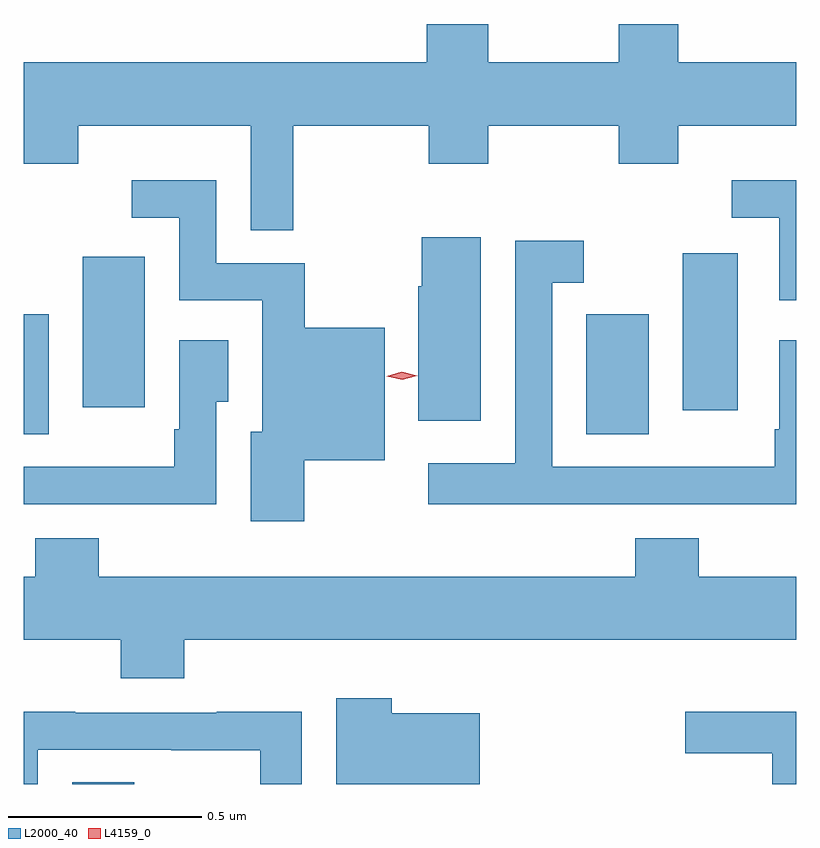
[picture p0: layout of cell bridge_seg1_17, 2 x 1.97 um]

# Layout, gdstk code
import gdstk
lib = gdstk.Library(unit=1e-6, precision=1e-09)
def R(c, l, rs):  # rectangles x0, y0, x1, y1
    for r in rs: c.add(gdstk.rectangle(r[:2], r[2:], *l))
def P(c, l, *ps):  # polygons
    for p in ps: c.add(gdstk.Polygon(p, *l))
L2000_40 = (2000, 40)
L4159_0 = (4159, 0)

bridge_seg1_17 = lib.new_cell('bridge_seg1_17')
R(bridge_seg1_17, L2000_40, [(881.063,531.379,881.224,531.383), (880.938,532.285,881.002,532.596), (882.395,532.285,882.556,532.596), (882.644,532.347,882.787,532.753), (881.09,532.355,881.251,532.744)])
P(bridge_seg1_17, L2000_40, [(881.636,533.084),(881.986,533.084),(881.986,532.985),(882.141,532.985),(882.141,533.084),(882.478,533.084),(882.478,532.985),(882.633,532.985),(882.633,533.084),(882.938,533.084),(882.938,533.248),(882.633,533.248),(882.633,533.347),(882.478,533.347),(882.478,533.248),(882.141,533.248),(882.141,533.347),(881.981,533.347),(881.981,533.248),(880.938,533.248),(880.938,532.985),(881.079,532.985),(881.079,533.084),(881.525,533.084),(881.525,532.813),(881.636,532.813)],
  [(881.664,532.217),(881.872,532.217),(881.872,532.561),(881.666,532.561),(881.666,532.728),(881.436,532.728),(881.436,532.942),(881.217,532.942),(881.217,532.845),(881.34,532.845),(881.34,532.632),(881.555,532.632),(881.555,532.291),(881.525,532.291),(881.525,532.059),(881.664,532.059)],
  [(882.938,532.942),(882.771,532.942),(882.771,532.845),(882.894,532.845),(882.894,532.632),(882.938,532.632)],
  [(882.121,532.795),(881.968,532.795),(881.968,532.668),(881.96,532.668),(881.96,532.32),(882.121,532.32)],
  [(882.403,532.104),(882.769,532.104),(882.769,532.103),(882.938,532.103),(882.938,532.528),(882.894,532.528),(882.894,532.297),(882.882,532.297),(882.882,532.201),(882.652,532.201),(882.652,532.2),(882.306,532.2),(882.306,532.677),(882.388,532.677),(882.388,532.786),(882.21,532.786),(882.21,532.21),(881.985,532.21),(881.985,532.103),(882.403,532.103)],
  [(881.436,532.369),(881.467,532.369),(881.467,532.528),(881.34,532.528),(881.34,532.297),(881.328,532.297),(881.328,532.201),(881.098,532.201),(881.098,532.2),(880.938,532.2),(880.938,532.104),(881.215,532.104),(881.215,532.103),(881.436,532.103)],
  [(881.354,531.752),(882.938,531.752),(882.938,531.916),(882.686,531.916),(882.686,532.015),(882.521,532.015),(882.521,531.916),(881.132,531.916),(881.132,532.015),(880.967,532.015),(880.967,531.916),(880.938,531.916),(880.938,531.752),(881.189,531.752),(881.189,531.653),(881.354,531.653)],
  [(882.118,531.562),(881.891,531.562),(881.891,531.601),(881.747,531.601),(881.747,531.379),(882.118,531.379)],
  [(882.938,531.566),(882.651,531.566),(882.651,531.458),(882.876,531.458),(882.876,531.379),(882.938,531.379)],
  [(880.974,531.468),(881.32,531.468),(881.32,531.467),(881.55,531.467),(881.55,531.379),(881.658,531.379),(881.658,531.566),(881.437,531.566),(881.437,531.564),(881.071,531.564),(881.071,531.566),(880.938,531.566),(880.938,531.379),(880.974,531.379)])
P(bridge_seg1_17, L4159_0, [(881.918,532.426),(881.878,532.435),(881.878,532.435),(881.878,532.435),(881.917,532.446),(881.957,532.436),(881.957,532.436),(881.957,532.436)])

lib.write_gds('bridge_seg1_17.gds')
